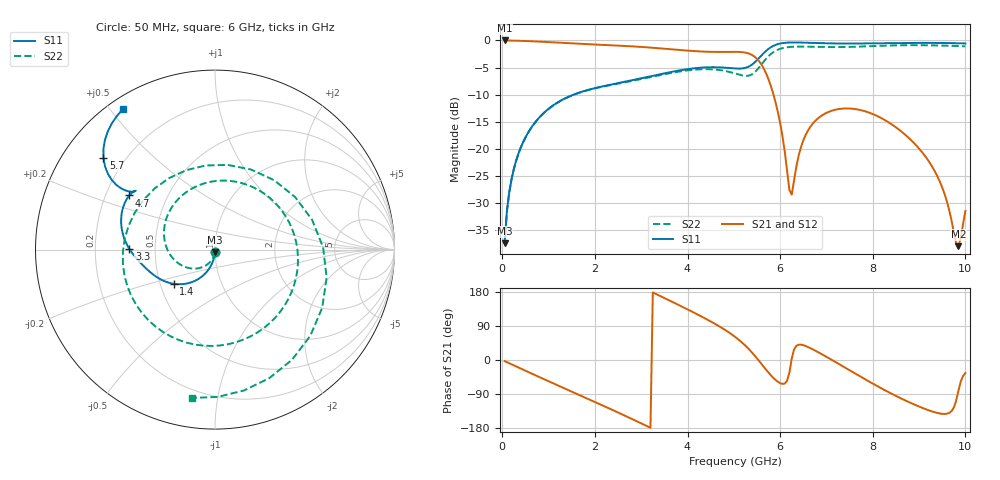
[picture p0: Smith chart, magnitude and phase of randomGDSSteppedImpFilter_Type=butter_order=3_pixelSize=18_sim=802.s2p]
! freq	dB(S11)	phase(S11)	dB(S12)	phase(S12)
!  dB(S21)	phase(S21)	dB(S22)	phase(S22)
!S-par simulation data
#  GHz  S  DB  R 50
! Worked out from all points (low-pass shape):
!   200 points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, 50 MHz to 10 GHz, reference 50 ohm
!   highest |S21| = -0.01 dB at 50 MHz (marker M1); lowest = -37.9 dB at 9.85 GHz (marker M2)
!   |S21| within 3 dB of the highest: start of sweep to 5.449 GHz
!   lowest |S11| = -37.4 dB at 50 MHz (marker M3), VSWR 1.03, Z = 50 - j1.35 ohm
!   |S11| at or under -10 dB: start of sweep to 1.538 GHz
!   |S22| runs from -37.4 to -0.9 dB; largest |S21 - S12| = 0
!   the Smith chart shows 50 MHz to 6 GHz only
!   S11 on the Smith chart (normalised r, x): 50 MHz: 1.00, -0.03; 1.4 GHz: 0.59, -0.25; 3.3 GHz: 0.35, +0.00; 4.7 GHz: 0.30, +0.27; 5.7 GHz: 0.12, +0.35; 6 GHz: 0.04, +0.54
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0.05  -37.37 -90.9  -0.01 -2.9  -0.01 -2.9  -37.39 -92.7
0.15  -28.00 -95.9  -0.02 -8.6  -0.02 -8.6  -28.03 -101.3
0.4  -19.72 -105.9  -0.08 -22.7  -0.08 -22.7  -19.75 -120.4
1.4  -10.50 -140.4  -0.50 -78.0  -0.50 -78.0  -10.54 163.1
1.75  -9.37 -150.0  -0.65 -97.0  -0.65 -97.0  -9.41 134.6
2.5  -7.89 -166.0  -0.95 -138.5  -0.95 -138.5  -7.97 67.8
3.3  -6.44 179.6  -1.39 175.3  -1.39 175.3  -6.58 -9.6
3.4  -6.25 177.6  -1.46 169.5  -1.46 169.5  -6.41 -19.3
4.1  -5.18 161.7  -1.94 127.4  -1.94 127.4  -5.44 -86.8
4.7  -4.97 147.7  -2.13 87.8  -2.13 87.8  -5.47 -151.1
5.05  -5.18 143.4  -2.10 58.9  -2.10 58.9  -6.16 155.5
5.4  -4.41 146.6  -2.72 18.7  -2.72 18.7  -6.21 65.8
5.7  -1.90 140.6  -6.15 -26.3  -6.15 -26.3  -3.35 -28.5
6  -0.58 123.2  -15.24 -61.1  -15.24 -61.1  -1.55 -98.8
6.25  -0.38 110.0  -28.41 3.4  -28.41 3.4  -1.18 -140.6
6.7  -0.46 91.0  -15.38 28.4  -15.38 28.4  -1.17 160.9
7.4  -0.58 66.0  -12.54 -19.9  -12.54 -19.9  -1.21 78.9
7.9  -0.55 48.8  -13.25 -55.4  -13.25 -55.4  -1.08 21.8
8.35  -0.49 33.1  -15.14 -85.5  -15.14 -85.5  -0.95 -25.3
9.05  -0.45 8.1  -20.45 -125.4  -20.45 -125.4  -0.89 -87.6
9.85  -0.53 -20.7  -37.93 -80.8  -37.93 -80.8  -1.04 -149.4
10  -0.56 -26.1  -31.43 -34.4  -31.43 -34.4  -1.09 -161.1
